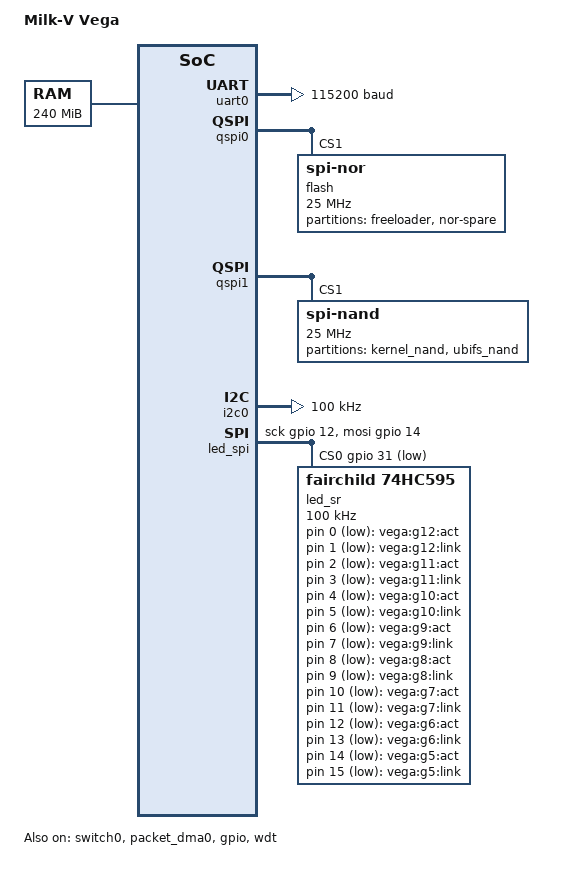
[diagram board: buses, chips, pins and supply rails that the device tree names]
// SPDX-License-Identifier: (GPL-2.0 OR MIT)
/* Copyright (c) 2020 Nuclei System Technologies */

/* Clock frequency (in Hz) of the PCB crystal for rtcclk */
/*#define RTCCLK_FREQ		32768*/

/dts-v1/;

/ {
	#address-cells = <2>;
	#size-cells = <2>;
	compatible = "milkv,vega";
	model = "Milk-V Vega";

	chosen {
		bootargs = "earlycon=sbi console=ttySIF0,115200 no4lvl no5lvl ubi.mtd=ubifs_nand root=ubi0:rootfs rootfstype=ubifs rootwait rw";
		stdout-path = "serial0";
	};

	aliases {
		serial0 = &uart0;
		serial1 = &uart1;
	};

	cpus {
		#address-cells = <1>;
		#size-cells = <0>;
		timebase-frequency = <48828>;

		cpu0: cpu@0 {
			device_type = "cpu";
			reg = <0>;
			status = "okay";
			compatible = "riscv";
			/*
			 * Linux 6.6+ deprecated the single "riscv,isa" string
			 * and parses isa-base + isa-extensions instead.
			 * Keep "riscv,isa" for U-Boot/older consumers.
			 */
			riscv,isa = "rv64imafdc";
			riscv,isa-base = "rv64i";
			riscv,isa-extensions = "i", "m", "a", "f", "d", "c",
					       "zicsr", "zifencei";
			riscv,satp-mode = "sv39";	/* force Sv39 (6.5+ supported) */
			mmu-type = "riscv,sv39";
			clock-frequency = <400000000>;

			cpu0_intc: interrupt-controller {
				#interrupt-cells = <1>;
				interrupt-controller;
				compatible = "riscv,cpu-intc";
			};
		};
	};

	memory@41000000 {
		device_type = "memory";
		reg = <0x0 0x41000000 0x0 0xf000000>;
	};

	soc {
		#address-cells = <2>;
		#size-cells = <2>;
		compatible = "nuclei,ux600fd", "simple-bus";
		ranges;
	};

	hfclk: hfclk {
		#clock-cells = <0>;
		compatible = "fixed-clock";
		clock-frequency = <200000000>;
		clock-output-names = "hfclk";
	};

	hfclk2: hfclk2 {
		#clock-cells = <0>;
		compatible = "fixed-clock";
		clock-frequency = <100000000>;
		clock-output-names = "hfclk2";
	};

	console {
		compatible = "sbi,console";
	};

	plic0: interrupt-controller@8000000 {
		#interrupt-cells = <1>;
		#address-cells = <0>;
		compatible = "riscv,plic0";
		interrupt-controller;
		riscv,ndev = <53>;
		interrupts-extended =
		<&cpu0_intc 11 &cpu0_intc 9>;
		reg = <0x0 0x8000000 0x0 0x4000000>;
	};

	/*
	 * Split ACLINT description of the Nuclei timer block (CLINT-
	 * compatible part starts at +0x1000). The "riscv,aclint-mswi"
	 * and "riscv,aclint-mtimer" compatibles let OpenSBI's FDT
	 * driver take sizes from DT reg (instead of the sifive,clint0
	 * path which hardcodes the 16 KiB MSWI / 32 KiB mtimecmp
	 * sizes that fragment the PMP map on this 8-PMP-entry SoC).
	 *
	 * Linux and U-Boot here use SBI for timer/IPI, so they don't
	 * care whether we describe it as CLINT or split ACLINT.
	 */
	mswi: mswi@2001000 {
		compatible = "riscv,aclint-mswi";
		reg = <0x0 0x02001000 0x0 0x1000>;
		interrupts-extended = <&cpu0_intc 3>;
	};

	mtimer: mtimer@2005000 {
		compatible = "riscv,aclint-mtimer";
		reg = <0x0 0x02005000 0x0 0x8>,     /* mtimecmp */
		      <0x0 0x0200cff8 0x0 0x8>;     /* mtime */
		reg-names = "mtimecmp", "mtime";
		interrupts-extended = <&cpu0_intc 7>;
	};

	syscon: syscon@2000000 {
		compatible = "syscon", "simple-mfd";
		reg = <0x0 0x02000000 0x0 0x1000>;
	};

	reboot {
		compatible = "syscon-reboot";
		regmap = <&syscon>;
		offset = <0xff0>;
		mask = <0xffffffff>;
		value = <0x80000a5f>;
	};

	poweroff {
		compatible = "syscon-poweroff";
		regmap = <&syscon>;
		offset = <0xff0>;
		mask = <0xffffffff>;
		value = <0x80000a5f>;
	};

	uart0: serial@10013000 {
		compatible = "sifive,uart0";
		reg = <0x0 0x10013000 0x0 0x1000>;
		interrupt-parent = <&plic0>;
		interrupts = <2>;
		clocks = <&hfclk2>;
		clock-frequency = <100000000>;
		current-speed = <115200>;
		status = "okay";
	};

	uart1: serial@10012000 {
		compatible = "sifive,uart0";
		reg = <0x0 0x10012000 0x0 0x1000>;
		interrupt-parent = <&plic0>;
		interrupts = <3>;
		clocks = <&hfclk2>;
		status = "disabled";
	};

	qspi0: spi@10014000 {
		compatible = "sifive,spi0";
		reg = <0x0 0x10014000 0x0 0x1000>;
		interrupt-parent = <&plic0>;
		interrupts = <5>;
		clocks = <&hfclk2>;
		num-cs = <1>;
		#address-cells = <1>;
		#size-cells = <0>;
		sifive,fifo-depth = <4>;
		status = "okay";

		flash@1 {
			/*
			 * 4 MiB Winbond W25Q32 SPI NOR.  Geometry is autodetected
			 * via SFDP/JEDEC ID, so no fixed flash_info compatible is
			 * named.  The previous "micron,mt25ql512a" was a 64 MiB
			 * part and did not match this board.
			 */
			compatible = "jedec,spi-nor";
			reg = <1>;
			spi-tx-bus-width = <1>;
			spi-rx-bus-width = <1>;
			spi-max-frequency = <25000000>;

			partitions {
				compatible = "fixed-partitions";
				#address-cells = <1>;
				#size-cells = <1>;

				/*
				 * First-stage SPL (OpenSBI + U-Boot + DTB + env),
				 * executed in place from NOR at boot.
				 */
				partition@0 {
					reg = <0x00000000 0x00100000>;
					label = "freeloader";
				};

				/*
				 * Remainder of the 4 MiB NOR.  Unused by OpenWrt:
				 * the kernel and root filesystem live on NAND.
				 */
				partition@100000 {
					reg = <0x00100000 0x00300000>;
					label = "nor-spare";
				};
			};
		};
	};

	qspi1: spi@10016000 {
		compatible = "sifive,spi0";
		reg = <0x0 0x10016000 0x0 0x1000>;
		interrupt-parent = <&plic0>;
		interrupts = <6>;
		clocks = <&hfclk2>;
		num-cs = <1>;
		#address-cells = <1>;
		#size-cells = <0>;
		/* Nuclei variant FIFO depth - see qspi0 comment */
		sifive,fifo-depth = <4>;
		status = "okay";

		spi-nand@1 {
			compatible = "spi-nand";
			reg = <1>;
			spi-max-frequency = <25000000>;
			spi-tx-bus-width = <1>;
			spi-rx-bus-width = <1>;

			partitions {
				compatible = "fixed-partitions";
				#address-cells = <1>;
				#size-cells = <1>;

				partition@0 {
					reg = <0x00000000 0x00c00000>;
					label = "kernel_nand";
				};

				partition@c00000 {
					reg = <0x00c00000 0x07400000>;
					label = "ubifs_nand";
				};
			};
		};
	};

	switch0: switch@60000000 {
		compatible = "milkv,vega-fsl91030m-switch";
		reg = <0x0 0x60000000 0x0 0x07100000>,
		      <0x0 0x10017000 0x0 0x1000>,
		      <0x0 0x40010000 0x0 0x1000>;
		reg-names = "switch", "dma", "dma-scratch";
		status = "okay";
	};

	packet_dma0: packet-dma@67800000 {
		compatible = "milkv,vega-xy1000-pdma";
		reg = <0x0 0x67800000 0x0 0x1000>,
		      <0x0 0x40000000 0x0 0x8000>;
		reg-names = "regs", "buffer";
		interrupt-parent = <&plic0>;
		interrupts = <10>, <11>, <12>;
		interrupt-names = "tx-end", "rx-end", "rx-req";
		local-mac-address = [00 02 a3 f2 10 00];
		status = "okay";
	};

	gpio: gpio@10011000 {
		compatible = "sifive,gpio0";
		interrupt-parent = <&plic0>;
		interrupts = <1>, <13>, <14>, <15>, <16>, <17>, <18>, <19>,
			     <20>, <21>, <22>, <23>, <24>, <25>, <26>, <27>,
			     <28>, <29>, <30>, <31>, <32>, <33>, <34>, <35>,
			     <36>, <37>, <38>, <39>, <40>, <41>, <42>, <43>;
		reg = <0x0 0x10011000 0x0 0x1000>;
		gpio-controller;
		#gpio-cells = <2>;
		interrupt-controller;
		#interrupt-cells = <2>;
		clocks = <&hfclk>;
		ngpios = <32>;
		status = "okay";
	};

	i2c0: ocores@10018000 {
		compatible = "opencores,i2c-ocores";
		#address-cells = <1>;
		#size-cells = <0>;
		interrupt-parent = <&plic0>;
		interrupts = <4>;
		reg = <0x0 0x10018000 0x0 0x1000>;
		opencores,ip-clock-frequency = <25000000>;
		clock-frequency = <100000>;
	};

	wdt: watchdog@68000000 {
		compatible = "riscv,fsl-wdt";
		reg = <0x0 0x68000000 0x0 0x20>;
		interrupt-parent = <&plic0>;
		interrupts = <8>;
		clocks = <&hfclk>;
		status = "okay";
	};

	led_spi: spi {
		compatible = "spi-gpio";
		#address-cells = <1>;
		#size-cells = <0>;
		sck-gpios = <&gpio 12 0>;
		mosi-gpios = <&gpio 14 0>;
		cs-gpios = <&gpio 31 1>;
		num-chipselects = <1>;

		led_sr: gpio-controller@0 {
			compatible = "fairchild,74hc595";
			reg = <0>;
			spi-max-frequency = <100000>;
			registers-number = <4>;
			gpio-controller;
			#gpio-cells = <2>;
		};
	};

	leds {
		compatible = "gpio-leds";

		led-g12-act { label = "vega:g12:act"; gpios = <&led_sr 0 1>; };
		led-g12-link { label = "vega:g12:link"; gpios = <&led_sr 1 1>; };
		led-g11-act { label = "vega:g11:act"; gpios = <&led_sr 2 1>; };
		led-g11-link { label = "vega:g11:link"; gpios = <&led_sr 3 1>; };
		led-g10-act { label = "vega:g10:act"; gpios = <&led_sr 4 1>; };
		led-g10-link { label = "vega:g10:link"; gpios = <&led_sr 5 1>; };
		led-g9-act { label = "vega:g9:act"; gpios = <&led_sr 6 1>; };
		led-g9-link { label = "vega:g9:link"; gpios = <&led_sr 7 1>; };
		led-g8-act { label = "vega:g8:act"; gpios = <&led_sr 8 1>; };
		led-g8-link { label = "vega:g8:link"; gpios = <&led_sr 9 1>; };
		led-g7-act { label = "vega:g7:act"; gpios = <&led_sr 10 1>; };
		led-g7-link { label = "vega:g7:link"; gpios = <&led_sr 11 1>; };
		led-g6-act { label = "vega:g6:act"; gpios = <&led_sr 12 1>; };
		led-g6-link { label = "vega:g6:link"; gpios = <&led_sr 13 1>; };
		led-g5-act { label = "vega:g5:act"; gpios = <&led_sr 14 1>; };
		led-g5-link { label = "vega:g5:link"; gpios = <&led_sr 15 1>; };
	};
};
